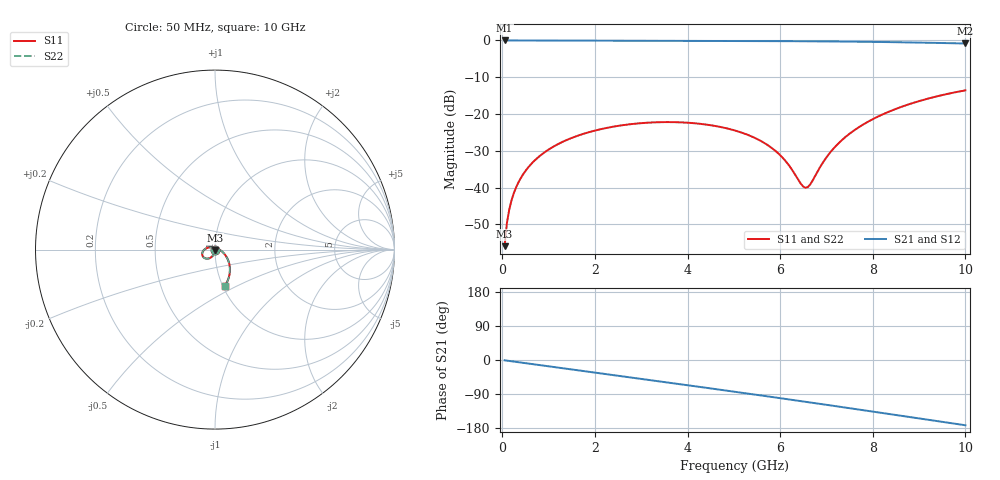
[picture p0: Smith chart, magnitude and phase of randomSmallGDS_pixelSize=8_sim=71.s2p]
! freq	dB(S11)	phase(S11)	dB(S12)	phase(S12)
!  dB(S21)	phase(S21)	dB(S22)	phase(S22)
!S-par simulation data
#  GHz  S  DB  R 50
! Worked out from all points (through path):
!   200 points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, 50 MHz to 10 GHz, reference 50 ohm
!   highest |S21| = 0.00 dB at 50 MHz (marker M1); lowest = -0.8 dB at 10 GHz (marker M2)
!   group delay of S21, straight-line fit = 47.7 ps
!   lowest |S11| = -55.9 dB at 50 MHz (marker M3), VSWR 1.00, Z = 50 - j0.16 ohm
!   |S11| at or under -10 dB: start of sweep to end of sweep
!   |S22| runs from -55.9 to -13.6 dB; largest |S21 - S12| = 0
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0.05  -55.91 -93.1  -0.00 -0.8  -0.00 -0.8  -55.91 -93.2
0.1  -49.60 -94.0  -0.00 -1.7  -0.00 -1.7  -49.60 -94.0
0.2  -43.43 -94.9  -0.00 -3.4  -0.00 -3.4  -43.43 -94.9
0.35  -38.54 -97.0  -0.01 -5.9  -0.01 -5.9  -38.54 -97.0
0.5  -35.47 -99.3  -0.01 -8.4  -0.01 -8.4  -35.47 -99.3
1  -29.65 -107.7  -0.02 -16.7  -0.02 -16.7  -29.65 -107.7
1.75  -25.38 -120.5  -0.04 -29.1  -0.04 -29.1  -25.38 -120.5
2.55  -23.12 -134.1  -0.07 -42.4  -0.07 -42.4  -23.12 -134.1
3.4  -22.21 -148.8  -0.09 -56.5  -0.09 -56.5  -22.21 -148.8
4.3  -22.70 -165.1  -0.12 -71.6  -0.12 -71.6  -22.70 -165.1
5.05  -24.57 179.9  -0.14 -84.3  -0.14 -84.3  -24.57 179.9
5.5  -26.77 169.2  -0.16 -92.0  -0.16 -92.0  -26.77 169.2
5.9  -30.03 156.3  -0.18 -98.9  -0.18 -98.9  -30.04 156.3
6.15  -33.29 143.0  -0.19 -103.3  -0.19 -103.3  -33.29 143.0
6.5  -39.73 89.4  -0.21 -109.4  -0.21 -109.4  -39.73 89.4
6.6  -39.81 59.2  -0.22 -111.2  -0.22 -111.2  -39.81 59.2
6.7  -38.09 33.6  -0.23 -112.9  -0.23 -112.9  -38.09 33.6
7  -31.77 -2.1  -0.26 -118.2  -0.26 -118.2  -31.77 -2.1
7.35  -26.89 -18.2  -0.30 -124.5  -0.30 -124.5  -26.89 -18.2
7.8  -22.79 -31.1  -0.35 -132.5  -0.35 -132.5  -22.79 -31.1
8.35  -19.35 -43.5  -0.44 -142.4  -0.44 -142.4  -19.35 -43.4
10  -13.56 -75.2  -0.83 -172.2  -0.83 -172.2  -13.56 -75.2
